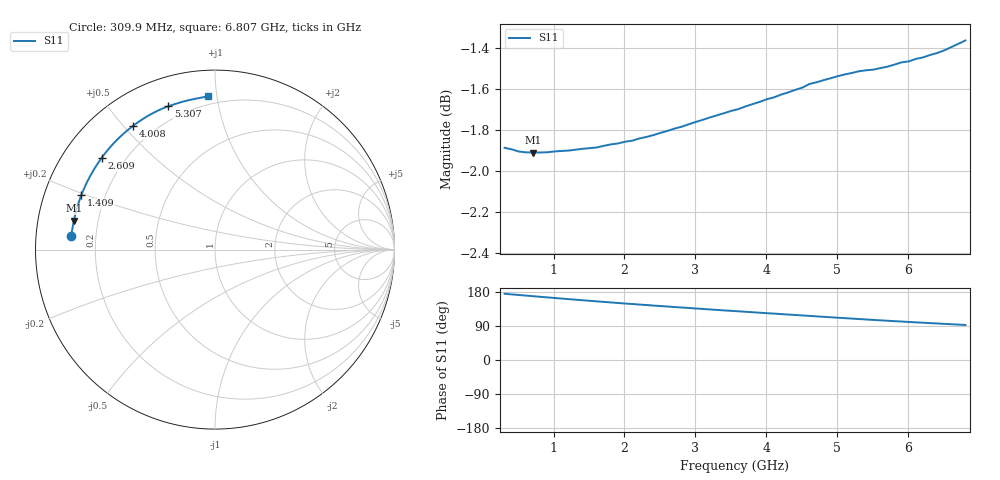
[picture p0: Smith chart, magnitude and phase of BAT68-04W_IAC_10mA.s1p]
! Infineon Technologies  Discrete & RF Semiconductors
! BAT68-04W
! IAC = 10 mA
! One-Port S-Parameters
# Hz  S  MA  R  50
!f  S11
!Hz  Mag  Ang
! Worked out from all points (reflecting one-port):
!   66 points, 309.9 MHz to 6.807 GHz, reference 50 ohm
!   lowest |S11| = -1.9 dB at 709.6 MHz (marker M1), VSWR 9.13, Z = 5.53 + j5.02 ohm
!   phase of S11 starts at 175 deg and turns -82 deg over the sweep
!   S11 on the Smith chart (normalised r, x): 309.9 MHz: 0.11, +0.05; 1.409 GHz: 0.11, +0.19; 2.609 GHz: 0.12, +0.35; 4.008 GHz: 0.12, +0.53; 5.307 GHz: 0.13, +0.72; 6.807 GHz: 0.15, +0.95
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3.0985e8  0.8047 174.7
7.0965e8  0.8026 168.4
1.0095e9  0.803 163.7
1.2094e9  0.8034 160.7
1.4093e9  0.8043 157.7
1.70915e9  0.8056 153.3
2.009e9  0.8075 149.0
2.10895e9  0.8079 147.8
2.2089e9  0.8089 146.3
2.4088e9  0.8104 143.7
2.6087e9  0.8124 141.1
2.70865e9  0.8134 139.7
2.8086e9  0.8143 138.5
2.90855e9  0.8154 137.2
3.2084e9  0.8185 133.4
3.4083e9  0.8205 130.9
3.6082e9  0.8223 128.5
3.8081e9  0.8246 126.0
4.008e9  0.8269 123.6
4.4078e9  0.8312 118.8
4.6077e9  0.834 116.4
4.8076e9  0.8357 114.0
5.2074e9  0.8391 109.2
5.30735e9  0.8399 108.1
5.6072e9  0.8414 104.7
6.007e9  0.8445 100.4
6.30685e9  0.8476 97.4
6.8066e9  0.8545 92.5
